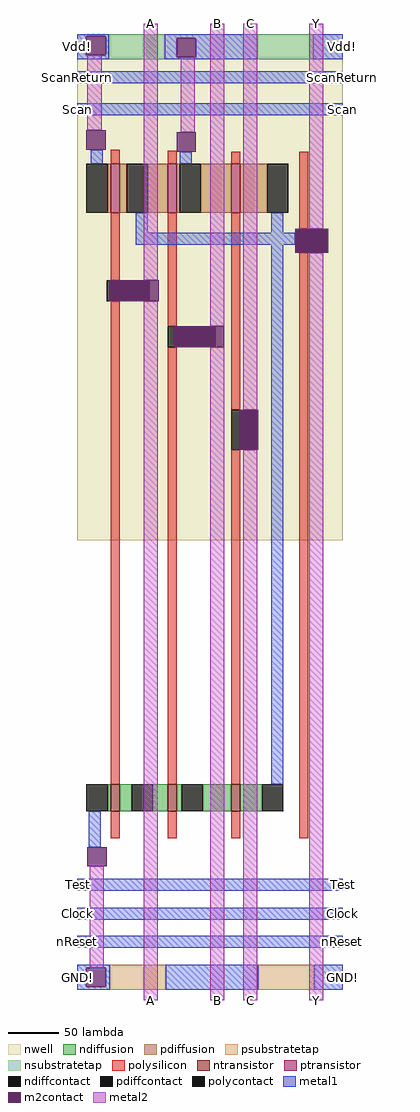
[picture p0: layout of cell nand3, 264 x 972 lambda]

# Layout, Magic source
magic
tech tsmc180
<< nwell >>
rect 0 458 264 962
<< polysilicon >>
rect 33 833 42 847
rect 90 833 99 846
rect 153 833 162 845
rect 33 717 42 784
rect 33 215 42 696
rect 90 671 99 784
rect 90 215 99 650
rect 153 588 162 784
rect 221 768 230 845
rect 153 215 162 548
rect 33 161 42 188
rect 90 161 99 188
rect 153 161 162 188
rect 221 161 230 744
<< ndiffusion >>
rect 30 188 33 215
rect 42 188 54 215
rect 75 188 90 215
rect 99 188 104 215
rect 125 188 153 215
rect 162 188 184 215
<< pdiffusion >>
rect 30 784 33 833
rect 42 784 49 833
rect 70 784 90 833
rect 99 784 102 833
rect 123 784 153 833
rect 162 784 189 833
<< ntransistor >>
rect 33 188 42 215
rect 90 188 99 215
rect 153 188 162 215
<< ptransistor >>
rect 33 784 42 833
rect 90 784 99 833
rect 153 784 162 833
<< polycontact >>
rect 29 696 72 717
rect 90 650 137 671
rect 217 744 250 768
rect 153 548 180 588
<< ndiffcontact >>
rect 9 188 30 215
rect 54 188 75 215
rect 104 188 125 215
rect 184 188 205 215
<< pdiffcontact >>
rect 9 784 30 833
rect 49 784 70 833
rect 102 784 123 833
rect 189 784 210 833
<< psubstratetap >>
rect 32 10 88 35
rect 180 10 236 35
<< nsubstratetap >>
rect 31 937 87 962
rect 179 937 235 962
<< metal1 >>
rect 0 960 31 962
rect 0 941 9 960
rect 28 941 31 960
rect 0 937 31 941
rect 87 958 179 962
rect 87 939 99 958
rect 118 939 179 958
rect 87 937 179 939
rect 235 937 264 962
rect 0 913 264 925
rect 0 881 264 893
rect 13 833 25 847
rect 102 833 114 845
rect 58 764 70 784
rect 193 764 205 784
rect 58 752 217 764
rect 193 215 205 752
rect 11 152 23 188
rect 0 109 264 121
rect 0 80 264 92
rect 0 52 264 64
rect 0 32 32 35
rect 0 13 9 32
rect 28 13 32 32
rect 0 10 32 13
rect 88 10 180 35
rect 236 10 264 35
<< m2contact >>
rect 9 941 28 960
rect 99 939 118 958
rect 9 847 28 866
rect 99 845 118 864
rect 32 696 72 717
rect 72 696 81 717
rect 97 650 137 671
rect 137 650 146 671
rect 161 548 180 588
rect 217 744 250 768
rect 10 133 29 152
rect 9 13 28 32
<< metal2 >>
rect 10 866 24 941
rect 66 717 80 972
rect 103 864 117 939
rect 12 32 26 133
rect 66 0 80 696
rect 132 671 146 972
rect 132 0 146 650
rect 165 588 179 972
rect 231 768 245 972
rect 165 0 179 548
rect 231 0 245 744
<< labels >>
rlabel metal1 0 10 0 35 3 GND!
rlabel metal1 264 10 264 35 7 GND!
rlabel metal1 0 52 0 64 3 nReset
rlabel metal1 264 52 264 64 7 nReset
rlabel metal1 264 80 264 92 7 Clock
rlabel metal1 0 80 0 92 3 Clock
rlabel metal1 264 109 264 121 7 Test
rlabel metal1 0 109 0 121 3 Test
rlabel metal1 0 913 0 925 3 ScanReturn
rlabel metal1 0 937 0 962 3 Vdd!
rlabel metal1 264 937 264 962 7 Vdd!
rlabel metal1 264 913 264 925 7 ScanReturn
rlabel metal1 0 881 0 893 3 Scan
rlabel metal1 264 881 264 893 7 Scan
rlabel metal2 132 972 146 972 5 B
rlabel metal2 66 972 80 972 5 A
rlabel metal2 165 972 179 972 5 C
rlabel metal2 231 972 245 972 5 Y
rlabel metal2 66 0 80 0 1 A
rlabel metal2 132 0 146 0 1 B
rlabel metal2 165 0 179 0 1 C
rlabel metal2 231 0 245 0 1 Y
<< end >>
